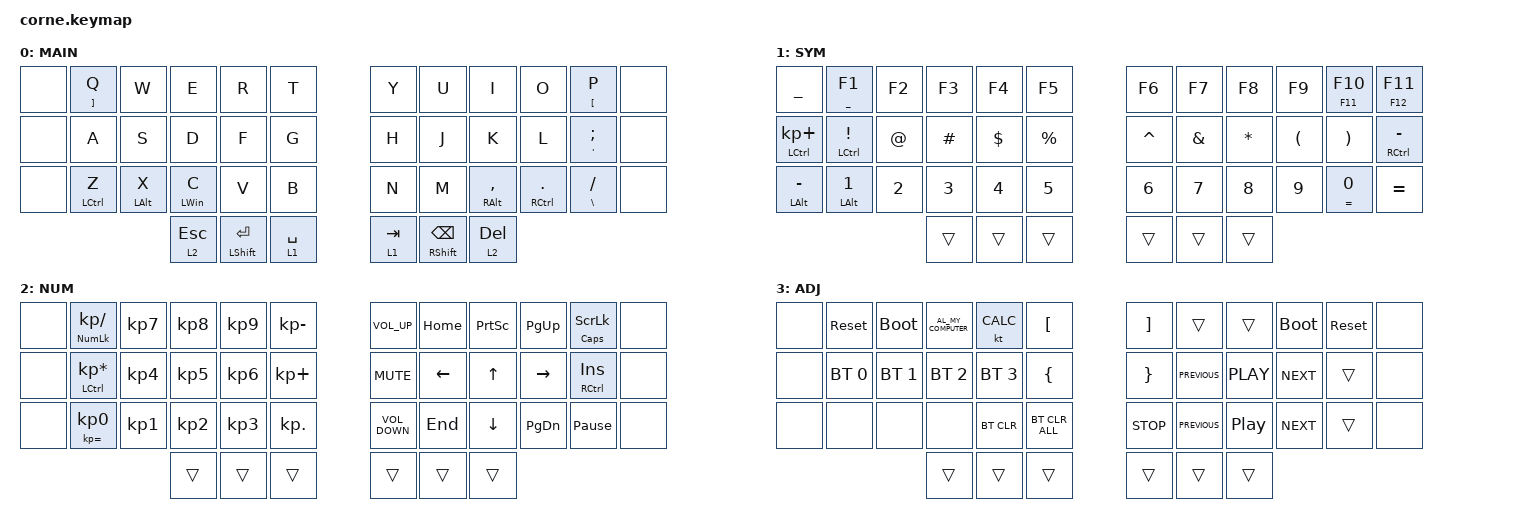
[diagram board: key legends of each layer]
/*
 * Copyright (c) 2020 The ZMK Contributors
 *
 * SPDX-License-Identifier: MIT
 */

#include <behaviors.dtsi>
#include <dt-bindings/zmk/bt.h>
#include <dt-bindings/zmk/keys.h>

&lt { quick-tap-ms = <200>; };

&mt { quick-tap-ms = <200>; };

/ {
    conditional_layers {
        compatible = "zmk,conditional-layers";

        adjust {
            if-layers = <1 2>;
            then-layer = <3>;
        };
    };

    combos {
        compatible = "zmk,combos";

        Language {
            bindings = <&kp LS(LALT)>;
            key-positions = <41 40>;
            require-prior-idle-ms = <60>;
        };

        Tab {
            bindings = <&kp TAB>;
            key-positions = <36 37>;
        };

        Ctrl {
            bindings = <&kp RCTRL>;
            key-positions = <34 22>;
            require-prior-idle-ms = <60>;
        };

        Alt {
            bindings = <&kp RALT>;
            key-positions = <33 21>;
            require-prior-idle-ms = <60>;
        };

        Win {
            bindings = <&kp RIGHT_WIN>;
            key-positions = <32 20>;
            require-prior-idle-ms = <60>;
        };
    };

    keymap {
        compatible = "zmk,keymap";

        default_layer {
            label = "MAIN";

            // -----------------------------------------------------------------------------------------
            // |  TAB |  Q  |  W  |  E  |  R  |  T  |   |  Y  |  U   |  I  |  O  |  P  | BKSP |
            // | CTRL |  A  |  S  |  D  |  F  |  G  |   |  H  |  J   |  K  |  L  |  ;  |  '   |
            // | SHFT |  Z  |  X  |  C  |  V  |  B  |   |  N  |  M   |  ,  |  .  |  /  | ESC  |
            //                    | GUI | LWR | SPC |   | ENT | RSE  | ALT |

            bindings = <
&none  &mt RIGHT_BRACKET Q  &kp W       &kp E       &kp R                 &kp T          &kp Y      &kp U                      &kp I                &kp O          &mt LEFT_BRACKET P  &none
&none  &kp A                &kp S       &kp D       &kp F                 &kp G          &kp H      &kp J                      &kp K                &kp L          &mt APOS SEMI       &none
&none  &mt LCTRL Z          &mt LALT X  &mt LWIN C  &kp V                 &kp B          &kp N      &kp M                      &mt RIGHT_ALT COMMA  &mt RCTRL DOT  &mt BACKSLASH FSLH  &none
                                        &lt 2 ESC   &mt LEFT_SHIFT ENTER  &lt 1 SPACE    &lt 1 TAB  &mt RIGHT_SHIFT BACKSPACE  &lt 2 DEL
            >;
        };

        lower_layer {
            label = "SYM";

            // -----------------------------------------------------------------------------------------
            // |  TAB |  1  |  2  |  3  |  4  |  5  |   |  6  |  7  |  8  |  9  |  0  | BKSP |
            // | BTCLR| BT1 | BT2 | BT3 | BT4 | BT5 |   | LFT | DWN |  UP | RGT |     |      |
            // | SHFT |     |     |     |     |     |   |     |     |     |     |     |      |
            //                    | GUI |     | SPC |   | ENT |     | ALT |

            bindings = <
&kp UNDER          &mt UNDERSCORE F1      &kp F2        &kp F3        &kp F4        &kp F5         &kp F6        &kp F7         &kp F8        &kp F9                &mt F11 F10            &mt F12 F11
&mt LCTRL KP_PLUS  &mt LCTRL EXCLAMATION  &kp AT_SIGN   &kp HASH      &kp DOLLAR    &kp PERCENT    &kp CARET     &kp AMPERSAND  &kp ASTERISK  &kp LEFT_PARENTHESIS  &kp RIGHT_PARENTHESIS  &mt RCTRL MINUS
&mt LALT MINUS     &mt LALT NUMBER_1      &kp NUMBER_2  &kp NUMBER_3  &kp NUMBER_4  &kp N5         &kp NUMBER_6  &kp N7         &kp N8        &kp N9                &mt EQUAL NUMBER_0     &kp EQUAL
                                                        &trans        &trans        &trans         &trans        &trans         &trans
            >;
        };

        raise_layer {
            label = "NUM";

            // -----------------------------------------------------------------------------------------
            // |  TAB |  !  |  @  |  #  |  $  |  %  |   |  ^  |  &  |  *  |  (  |  )  | BKSP |
            // | CTRL |     |     |     |     |     |   |  -  |  =  |  [  |  ]  |  \  |  `   |
            // | SHFT |     |     |     |     |     |   |  _  |  +  |  {  |  }  | "|" |  ~   |
            //                    | GUI |     | SPC |   | ENT |     | ALT |

            bindings = <
&none  &mt KP_NUMLOCK KP_SLASH  &kp KP_N7  &kp KP_N8  &kp KP_N9  &kp KP_MINUS    &kp C_VOLUME_UP    &kp HOME  &kp PRINTSCREEN  &kp PG_UP  &mt CAPSLOCK SCROLLLOCK  &none
&none  &mt LCTRL KP_MULTIPLY    &kp KP_N4  &kp KP_N5  &kp KP_N6  &kp KP_PLUS     &kp C_MUTE         &kp LEFT  &kp UP           &kp RIGHT  &mt RCTRL INSERT         &none
&none  &mt KP_EQUAL KP_N0       &kp KP_N1  &kp KP_N2  &kp KP_N3  &kp KP_DOT      &kp C_VOLUME_DOWN  &kp END   &kp DOWN         &kp PG_DN  &kp PAUSE_BREAK          &none
                                           &trans     &trans     &trans          &trans             &trans    &trans
            >;
        };

        adjust_layer {
            label = "ADJ";
            bindings = <
&none  &sys_reset    &bootloader   &kp C_AL_MY_COMPUTER  &kt K_CALC    &kp LEFT_BRACKET    &kp RIGHT_BRACKET  &trans          &trans            &bootloader  &sys_reset  &none
&none  &bt BT_SEL 0  &bt BT_SEL 1  &bt BT_SEL 2          &bt BT_SEL 3  &kp LEFT_BRACE      &kp RIGHT_BRACE    &kp C_PREVIOUS  &kp C_PLAY        &kp C_NEXT   &trans      &none
&none  &none         &none         &none                 &bt BT_CLR    &bt BT_CLR_ALL      &kp C_STOP         &kp C_PREVIOUS  &kp C_PLAY_PAUSE  &kp C_NEXT   &trans      &none
                                   &trans                &trans        &trans              &trans             &trans          &trans
            >;
        };
    };
};
